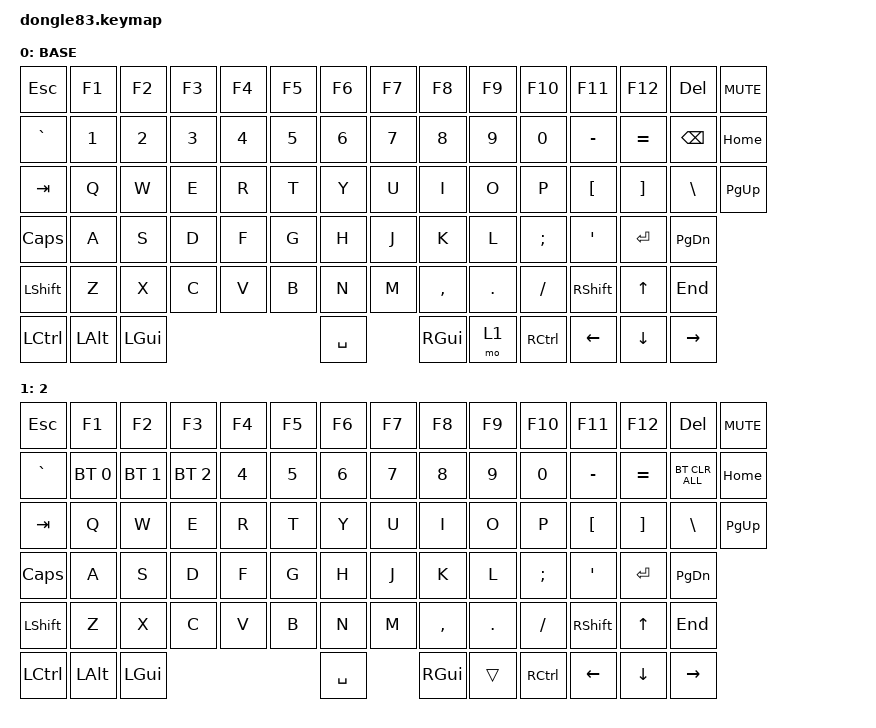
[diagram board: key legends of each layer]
#include <behaviors.dtsi>
#include <dt-bindings/zmk/bt.h>
#include <dt-bindings/zmk/keys.h>

#define BASE 0

/ {
    combos {
        compatible = "zmk,combos";

        bootloader {
            bindings = <&bootloader>;
            key-positions = <76 81 71>;
        };

        backspace {
            bindings = <&kp BACKSPACE>;
            key-positions = <53 52>;
        };
    };

    keymap {
        compatible = "zmk,keymap";

        default_layer {
            label = "BASE";
            bindings = <
&kp ESC    &kp F1    &kp F2    &kp F3  &kp F4  &kp F5  &kp F6     &kp F7  &kp F8     &kp F9   &kp F10    &kp F11         &kp F12         &kp DEL          &kp K_MUTE
&kp GRAVE  &kp N1    &kp N2    &kp N3  &kp N4  &kp N5  &kp N6     &kp N7  &kp N8     &kp N9   &kp N0     &kp MINUS       &kp EQUAL       &kp BSPC         &kp HOME
&kp TAB    &kp Q     &kp W     &kp E   &kp R   &kp T   &kp Y      &kp U   &kp I      &kp O    &kp P      &kp LBKT        &kp RBKT        &kp BSLH         &kp PAGE_UP
&kp CAPS   &kp A     &kp S     &kp D   &kp F   &kp G   &kp H      &kp J   &kp K      &kp L    &kp SEMI   &kp APOS        &kp ENTER       &kp PAGE_DOWN
&kp LSHFT  &kp Z     &kp X     &kp C   &kp V   &kp B   &kp N      &kp M   &kp COMMA  &kp DOT  &kp FSLH   &kp RSHFT       &kp UP_ARROW    &kp END
&kp LCTRL  &kp LALT  &kp LGUI                          &kp SPACE          &kp RGUI   &mo 1    &kp RCTRL  &kp LEFT_ARROW  &kp DOWN_ARROW  &kp RIGHT_ARROW
            >;
        };

        layer_1 {
            label = "2";
            bindings = <
&kp ESC    &kp F1        &kp F2        &kp F3        &kp F4  &kp F5  &kp F6     &kp F7  &kp F8     &kp F9   &kp F10    &kp F11         &kp F12         &kp DEL          &kp K_MUTE
&kp GRAVE  &bt BT_SEL 0  &bt BT_SEL 1  &bt BT_SEL 2  &kp N4  &kp N5  &kp N6     &kp N7  &kp N8     &kp N9   &kp N0     &kp MINUS       &kp EQUAL       &bt BT_CLR_ALL   &kp HOME
&kp TAB    &kp Q         &kp W         &kp E         &kp R   &kp T   &kp Y      &kp U   &kp I      &kp O    &kp P      &kp LBKT        &kp RBKT        &kp BSLH         &kp PAGE_UP
&kp CAPS   &kp A         &kp S         &kp D         &kp F   &kp G   &kp H      &kp J   &kp K      &kp L    &kp SEMI   &kp APOS        &kp ENTER       &kp PAGE_DOWN
&kp LSHFT  &kp Z         &kp X         &kp C         &kp V   &kp B   &kp N      &kp M   &kp COMMA  &kp DOT  &kp FSLH   &kp RSHFT       &kp UP_ARROW    &kp END
&kp LCTRL  &kp LALT      &kp LGUI                                    &kp SPACE          &kp RGUI   &trans   &kp RCTRL  &kp LEFT_ARROW  &kp DOWN_ARROW  &kp RIGHT_ARROW
            >;
        };
    };
};
